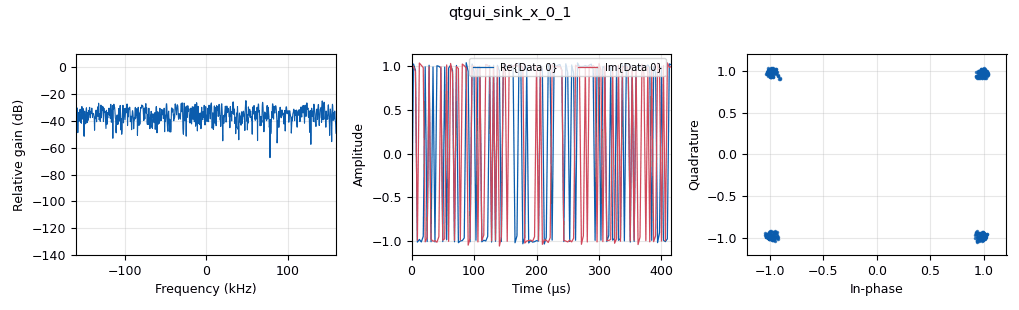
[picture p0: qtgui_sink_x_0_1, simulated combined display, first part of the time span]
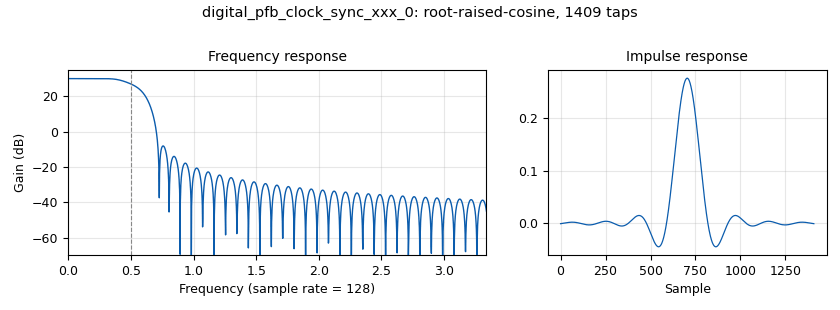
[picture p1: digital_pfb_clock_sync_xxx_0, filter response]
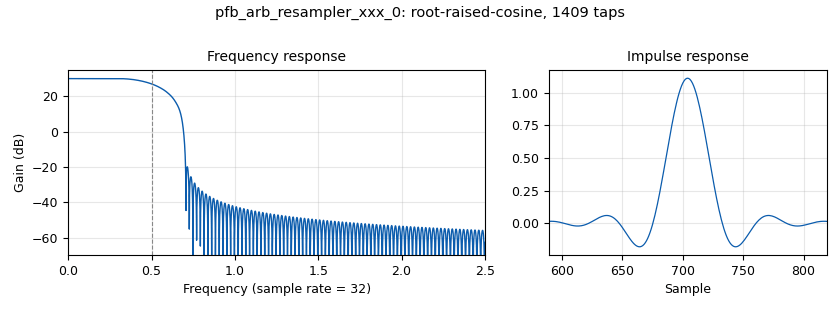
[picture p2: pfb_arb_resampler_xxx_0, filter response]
options:
  parameters:
    author: Prasann
    generate_options: qt_gui
    id: task1
    output_language: python
    title: Lab 8 - Task 1
  states: {}

blocks:
- name: const_points
  id: variable
  parameters:
    value: '4'
  states: {}
- name: excess_bw
  id: variable
  parameters:
    value: '0.4'
  states: {}
- name: nfilts
  id: variable
  parameters:
    value: '32'
  states: {}
- name: ntaps
  id: variable
  parameters:
    value: 11*nfilts*sps
  states: {}
- name: rx_taps
  id: variable
  parameters:
    value: filter.firdes.root_raised_cosine(nfilts, nfilts*sps, 1.0, excess_bw, ntaps)
  states: {}
- name: samp_rate
  id: variable
  parameters:
    value: '320000'
  states: {}
- name: sps
  id: variable
  parameters:
    value: '4'
  states: {}
- name: timing_bw
  id: variable
  parameters:
    value: 2*pi/100
  states: {}
- name: tx_taps
  id: variable
  parameters:
    value: firdes.root_raised_cosine(nfilts, nfilts, 1.0, excess_bw, ntaps)
  states: {}
- name: analog_random_source_x_0
  id: analog_random_source_x
  parameters:
    max: const_points
    min: '0'
    num_samps: '1000'
    repeat: 'True'
    type: byte
  states: {}
- name: analog_sig_source_x_0
  id: analog_sig_source_x
  parameters:
    amp: '1'
    freq: '0.1'
    offset: '0'
    phase: '0'
    samp_rate: samp_rate
    type: complex
    waveform: analog.GR_SIN_WAVE
  states: {}
- name: blocks_multiply_xx_0
  id: blocks_multiply_xx
  parameters:
    type: complex
  states: {}
- name: blocks_throttle_0
  id: blocks_throttle
  parameters:
    samples_per_second: samp_rate
    type: complex
  states: {}
- name: digital_chunks_to_symbols_xx_0
  id: digital_chunks_to_symbols_xx
  parameters:
    dimension: '1'
    in_type: byte
    out_type: complex
    symbol_table: ((1-1j),(1+1j),(-1+1j),(-1-1j))
  states: {}
- name: digital_pfb_clock_sync_xxx_0
  id: digital_pfb_clock_sync_xxx
  parameters:
    filter_size: '32'
    init_phase: '16'
    loop_bw: timing_bw
    max_dev: '1.5'
    osps: '1'
    sps: sps
    taps: rx_taps
    type: ccf
  states: {}
- name: import_0
  id: import
  parameters:
    imports: from gnuradio import digital
  states: {}
- name: import_1
  id: import
  parameters:
    imports: from gnuradio import filter
  states: {}
- name: pfb_arb_resampler_xxx_0
  id: pfb_arb_resampler_xxx
  parameters:
    atten: '100'
    nfilts: '32'
    rrate: sps
    taps: tx_taps
    type: ccf
  states: {}
- name: pi
  id: import
  parameters:
    imports: from math import pi
  states: {}
- name: qtgui_sink_x_0
  id: qtgui_sink_x
  parameters:
    bw: samp_rate
    fc: '0'
    fftsize: '1024'
    type: complex
    wintype: firdes.WIN_BLACKMAN_hARRIS
  states: {state: disabled}
- name: qtgui_sink_x_0_0
  id: qtgui_sink_x
  parameters:
    bw: samp_rate
    fc: '0'
    fftsize: '1024'
    type: complex
    wintype: firdes.WIN_BLACKMAN_hARRIS
  states: {state: disabled}
- name: qtgui_sink_x_0_1
  id: qtgui_sink_x
  parameters:
    bw: samp_rate
    fc: '0'
    fftsize: '1024'
    type: complex
    wintype: firdes.WIN_BLACKMAN_hARRIS
  states: {}
- name: qtgui_sink_x_0_1_0
  id: qtgui_sink_x
  parameters:
    bw: samp_rate
    fc: '0'
    fftsize: '1024'
    type: float
    wintype: firdes.WIN_BLACKMAN_hARRIS
  states: {state: disabled}
- name: qtgui_sink_x_0_1_0_0
  id: qtgui_sink_x
  parameters:
    bw: samp_rate
    fc: '0'
    fftsize: '1024'
    type: float
    wintype: firdes.WIN_BLACKMAN_hARRIS
  states: {state: disabled}
- name: qtgui_sink_x_0_1_0_0_0
  id: qtgui_sink_x
  parameters:
    bw: samp_rate
    fc: '0'
    fftsize: '1024'
    type: float
    wintype: firdes.WIN_BLACKMAN_hARRIS
  states: {state: disabled}

connections:
- [analog_random_source_x_0, '0', digital_chunks_to_symbols_xx_0, '0']
- [analog_sig_source_x_0, '0', blocks_multiply_xx_0, '1']
- [blocks_multiply_xx_0, '0', digital_pfb_clock_sync_xxx_0, '0']
- [blocks_throttle_0, '0', pfb_arb_resampler_xxx_0, '0']
- [blocks_throttle_0, '0', qtgui_sink_x_0, '0']
- [digital_chunks_to_symbols_xx_0, '0', blocks_throttle_0, '0']
- [digital_pfb_clock_sync_xxx_0, '0', qtgui_sink_x_0_1, '0']
- [digital_pfb_clock_sync_xxx_0, '1', qtgui_sink_x_0_1_0_0_0, '0']
- [digital_pfb_clock_sync_xxx_0, '2', qtgui_sink_x_0_1_0, '0']
- [digital_pfb_clock_sync_xxx_0, '3', qtgui_sink_x_0_1_0_0, '0']
- [pfb_arb_resampler_xxx_0, '0', blocks_multiply_xx_0, '0']
- [pfb_arb_resampler_xxx_0, '0', qtgui_sink_x_0_0, '0']

metadata:
  file_format: 1
